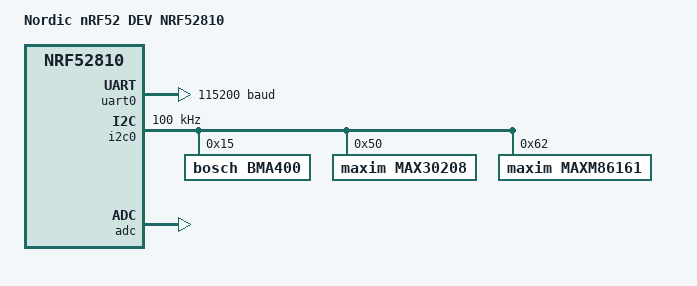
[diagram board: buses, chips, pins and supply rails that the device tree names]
/*
 * Copyright (c) 2018 Nordic Semiconductor ASA
 * Copyright (c) 2017 Shawn Nock <shawn@monadnock.ca>
 * Copyright (c) 2017 Linaro Limited
 *
 * SPDX-License-Identifier: Apache-2.0
 */

/dts-v1/;
#include <nordic/nrf52810_qfaa.dtsi>
#include "nrf52_dev_nrf52810-pinctrl.dtsi"

/ {
	model = "Nordic nRF52 DEV NRF52810";
	compatible = "nordic,nrf52-dk-nrf52810";

	chosen {
		zephyr,console = &uart0;
		zephyr,sram = &sram0;
		zephyr,flash = &flash0;
		zephyr,code-partition = &slot0_partition;
	};

	aliases {
		i2c0 = &i2c0;
	};

	vbatt {
		io-channels = <&adc 0>;
		io-channel-names = "VBATT";
		zephyr,gain = "ADC_GAIN_1_6";
		zephyr,reference = "ADC_REF_INTERNAL";
		zephyr,acquisition-time = <ADC_ACQ_TIME_DEFAULT>;
		zephyr,input-positive = <NRF_SAADC_VDD>;
	};
};

&reg {
	regulator-initial-mode = <NRF5X_REG_MODE_DCDC>;
};

&uicr {
	gpio-as-nreset;
};

&gpiote {
	status = "okay";
};

&gpio0 {
	status = "okay";
};

&uart0 {
	compatible = "nordic,nrf-uarte";
	status = "okay";
	current-speed = <115200>;
	pinctrl-0 = <&uart0_default>;
	pinctrl-1 = <&uart0_sleep>;
	pinctrl-names = "default", "sleep";
};

&i2c0 {
	compatible = "nordic,nrf-twi";
	status = "okay";
	clock-frequency = <I2C_BITRATE_STANDARD>;
	pinctrl-0 = <&i2c0_default>;
	pinctrl-1 = <&i2c0_sleep>;
	pinctrl-names = "default", "sleep";

	/* I2C sensors */
	bma400: bma400@15 {
		compatible = "bosch,bma400";
		reg = <0x15>;
		label = "BMA400";
		status = "okay";
	};

	max30208: max30208@50 {
		compatible = "maxim,max30208";
		reg = <0x50>;
		label = "MAX30208";
		status = "okay";
	};

	maxm86161: maxm86161@62 {
		compatible = "maxim,maxm86161";
		reg = <0x62>;
		label = "MAXM86161";
		status = "okay";
	};
};

&adc {
	status = "okay";
};

&flash0 {
	partitions {
		compatible = "fixed-partitions";
		#address-cells = <1>;
		#size-cells = <1>;

		boot_partition: partition@0 {
			label = "mcuboot";
			reg = <0x00000000 0xc000>;
		};

		slot0_partition: partition@c000 {
			label = "image-0";
			reg = <0x0000C000 0xe000>;
		};

		slot1_partition: partition@1a000 {
			label = "image-1";
			reg = <0x0001a000 0xe000>;
		};

		storage_partition: partition@28000 {
			label = "storage";
			reg = <0x00028000 0x00008000>;
		};
	};
};
